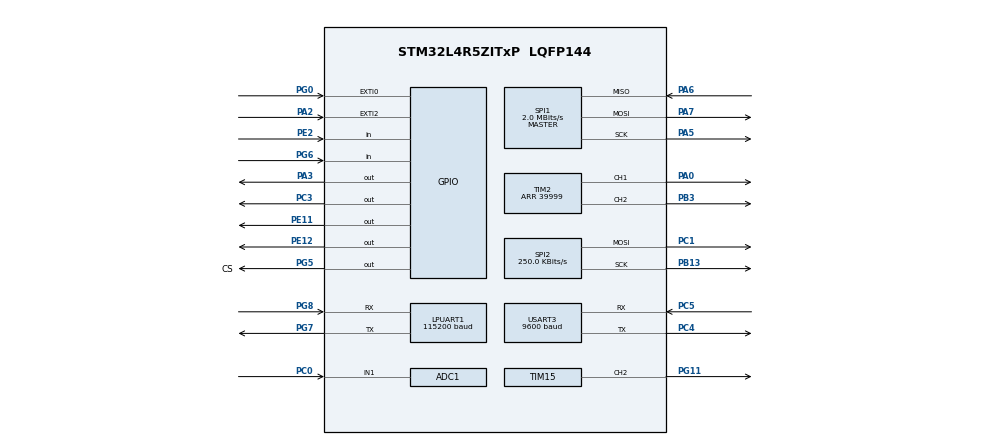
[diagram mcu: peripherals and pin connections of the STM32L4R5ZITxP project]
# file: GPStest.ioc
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ADC1.Channel-0\#ChannelRegularConversion=ADC_CHANNEL_1
ADC1.NbrOfConversionFlag=1
ADC1.OffsetNumber-0\#ChannelRegularConversion=ADC_OFFSET_NONE
ADC1.Rank-0\#ChannelRegularConversion=1
ADC1.SamplingTime-0\#ChannelRegularConversion=ADC_SAMPLETIME_2CYCLES_5
ADC1.master=1
Dma.Request0=SPI1_RX
Dma.Request1=SPI1_TX
Dma.SPI1_RX.0.Direction=DMA_PERIPH_TO_MEMORY
Dma.SPI1_RX.0.EventEnable=DISABLE
Dma.SPI1_RX.0.Instance=DMA1_Channel1
Dma.SPI1_RX.0.MemDataAlignment=DMA_MDATAALIGN_BYTE
Dma.SPI1_RX.0.MemInc=DMA_MINC_ENABLE
Dma.SPI1_RX.0.Mode=DMA_NORMAL
Dma.SPI1_RX.0.PeriphDataAlignment=DMA_PDATAALIGN_BYTE
Dma.SPI1_RX.0.PeriphInc=DMA_PINC_DISABLE
Dma.SPI1_RX.0.Polarity=HAL_DMAMUX_REQUEST_GEN_RISING
Dma.SPI1_RX.0.Priority=DMA_PRIORITY_LOW
Dma.SPI1_RX.0.RequestNumber=1
Dma.SPI1_RX.0.SignalID=NONE
Dma.SPI1_RX.0.SyncEnable=DISABLE
Dma.SPI1_RX.0.SyncPolarity=HAL_DMAMUX_SYNC_NO_EVENT
Dma.SPI1_RX.0.SyncRequestNumber=1
Dma.SPI1_RX.0.SyncSignalID=NONE
Dma.SPI1_TX.1.Direction=DMA_MEMORY_TO_PERIPH
Dma.SPI1_TX.1.EventEnable=DISABLE
Dma.SPI1_TX.1.Instance=DMA1_Channel2
Dma.SPI1_TX.1.MemDataAlignment=DMA_MDATAALIGN_BYTE
Dma.SPI1_TX.1.MemInc=DMA_MINC_ENABLE
Dma.SPI1_TX.1.Mode=DMA_NORMAL
Dma.SPI1_TX.1.PeriphDataAlignment=DMA_PDATAALIGN_BYTE
Dma.SPI1_TX.1.PeriphInc=DMA_PINC_DISABLE
Dma.SPI1_TX.1.Polarity=HAL_DMAMUX_REQUEST_GEN_RISING
Dma.SPI1_TX.1.Priority=DMA_PRIORITY_LOW
Dma.SPI1_TX.1.RequestNumber=1
Dma.SPI1_TX.1.SignalID=NONE
Dma.SPI1_TX.1.SyncEnable=DISABLE
Dma.SPI1_TX.1.SyncPolarity=HAL_DMAMUX_SYNC_NO_EVENT
Dma.SPI1_TX.1.SyncRequestNumber=1
Dma.SPI1_TX.1.SyncSignalID=NONE
LPUART1.BaudRate=115200
LPUART1.WordLength=UART_WORDLENGTH_8B
Mcu.Family=STM32L4
Mcu.Name=STM32L4R5ZITxP
Mcu.Package=LQFP144
NVIC.DMA1_Channel1_IRQn=true\:0\:0\:false\:false\:true\:false\:true\:true
NVIC.DMA1_Channel2_IRQn=true\:0\:0\:false\:false\:true\:false\:true\:true
NVIC.EXTI2_IRQn=true\:0\:0\:false\:false\:true\:true\:true\:true
NVIC.PriorityGroup=NVIC_PRIORITYGROUP_4
NVIC.TIM5_IRQn=true\:0\:0\:true\:false\:true\:true\:true\:true
NVIC.TIM6_DAC_IRQn=true\:0\:0\:false\:false\:true\:true\:true\:true
NVIC.USART3_IRQn=true\:0\:0\:false\:false\:true\:true\:true\:true
PA0.Signal=S_TIM2_CH1
PA10.Signal=USB_OTG_FS_ID
PA13\ (JTMS/SWDIO).Signal=SYS_JTMS-SWDIO
PA14\ (JTCK/SWCLK).Signal=SYS_JTCK-SWCLK
PA2.GPIO_ModeDefaultEXTI=GPIO_MODE_IT_FALLING
PA2.GPIO_PuPd=GPIO_PULLUP
PA2.Signal=GPXTI2
PA3.Signal=GPIO_Output
PA5.Mode=Full_Duplex_Master
PA5.Signal=SPI1_SCK
PA6.Mode=Full_Duplex_Master
PA6.Signal=SPI1_MISO
PA7.Mode=Full_Duplex_Master
PA7.Signal=SPI1_MOSI
PA8.Signal=USB_OTG_FS_SOF
PA9.Signal=USB_OTG_FS_VBUS
PB10.Signal=S_TIM2_CH3
PB13.Mode=TX_Only_Simplex_Unidirect_Master
PB13.Signal=SPI2_SCK
PB14.Signal=S_TIM15_CH1
PB15.Signal=SAI2_SD_A
PB3\ (JTDO/TRACESWO).Signal=S_TIM2_CH2
PB4\ (NJTRST).Signal=SPI3_MISO
PB5.Signal=SPI3_MOSI
PB6.Signal=COMP2_INP
PB8.Signal=I2C1_SCL
PC0.Signal=ADCx_IN1
PC1.Mode=TX_Only_Simplex_Unidirect_Master
PC1.Signal=SPI2_MOSI
PC10.Signal=SDMMC1_D2
PC11.Signal=SDMMC1_D3
PC12.Signal=SDMMC1_CK
PC13.Signal=SYS_WKUP2
PC14-OSC32_IN\ (PC14).Signal=RCC_OSC32_IN
PC15-OSC32_OUT\ (PC15).Signal=RCC_OSC32_OUT
PC3.Signal=GPIO_Output
PC4.Mode=Asynchronous
PC4.Signal=USART3_TX
PC5.Mode=Asynchronous
PC5.Signal=USART3_RX
PC6.Signal=SAI2_MCLK_A
PC7.Signal=S_TIM3_CH2
PC8.Signal=SDMMC1_D0
PC9.Signal=SDMMC1_D1
PD14.Signal=S_TIM4_CH3
PD15.Signal=S_TIM4_CH4
PD2.Signal=SDMMC1_CMD
PD3.Signal=USART2_CTS
PD4.Signal=USART2_RTS
PD5.Signal=USART2_TX
PD6.Signal=USART2_RX
PE0.Signal=S_TIM4_ETR
PE10.Signal=TIM1_CH2N
PE11.Signal=GPIO_Output
PE12.Signal=GPIO_Output
PE13.Signal=S_TIM1_CH3
PE14.Signal=TIM1_BKIN2
PE15.Signal=TIM1_BKIN
PE2.Signal=GPIO_Input
PE3.Signal=SAI1_SD_B
PE7.Signal=S_TIM1_ETR
PE8.Signal=TIM1_CH1N
PE9.Signal=S_TIM1_CH1
PF0.Signal=I2C2_SDA
PF1.Signal=I2C2_SCL
PF2.Signal=I2C2_SMBA
PG0.Signal=GPXTI0
PG11.Signal=S_TIM15_CH2
PG5.GPIO_Label=CS
PG5.GPIO_Speed=GPIO_SPEED_FREQ_HIGH
PG5.PinState=GPIO_PIN_SET
PG5.Signal=GPIO_Output
PG6.Signal=GPIO_Input
PG7.Mode=Asynchronous
PG7.Signal=LPUART1_TX
PG8.Mode=Asynchronous
PG8.Signal=LPUART1_RX
ProjectManager.HeapSize=0x200
ProjectManager.StackSize=0x400
ProjectManager.TargetToolchain=STM32CubeIDE
RCC.ADCFreq_Value=32000000
RCC.HSE_VALUE=8000000
RCC.HSI48_VALUE=48000000
RCC.HSI_VALUE=16000000
RCC.LSE_VALUE=32768
RCC.MSI_VALUE=4000000
RCC.PLLSAI1N=16
RCC.USBFreq_Value=32000000
RCC.VCOOutputFreq_Value=32000000
SH.ADCx_IN1.0=ADC1_IN1,IN1-Single-Ended
SH.S_TIM15_CH1.0=TIM15_CH1
SH.S_TIM15_CH2.0=TIM15_CH2,PWM Generation2 CH2
SH.S_TIM1_CH1.0=TIM1_CH1
SH.S_TIM1_CH3.0=TIM1_CH3
SH.S_TIM1_ETR.0=TIM1_ETR
SH.S_TIM2_CH1.0=TIM2_CH1,PWM Generation1 CH1
SH.S_TIM2_CH2.0=TIM2_CH2,PWM Generation2 CH2
SH.S_TIM2_CH3.0=TIM2_CH3
SH.S_TIM3_CH2.0=TIM3_CH2
SH.S_TIM4_CH3.0=TIM4_CH3
SH.S_TIM4_CH4.0=TIM4_CH4
SH.S_TIM4_ETR.0=TIM4_ETR
SPI1.BaudRatePrescaler=SPI_BAUDRATEPRESCALER_2
SPI1.CalculateBaudRate=2.0 MBits/s
SPI1.DataSize=SPI_DATASIZE_8BIT
SPI1.Direction=SPI_DIRECTION_2LINES
SPI1.Mode=SPI_MODE_MASTER
SPI1.VirtualType=VM_MASTER
SPI2.BaudRatePrescaler=SPI_BAUDRATEPRESCALER_16
SPI2.CLKPhase=SPI_PHASE_1EDGE
SPI2.CalculateBaudRate=250.0 KBits/s
SPI2.DataSize=SPI_DATASIZE_8BIT
SPI2.Direction=SPI_DIRECTION_2LINES
SPI2.Mode=SPI_MODE_MASTER
SPI2.VirtualType=VM_MASTER
TIM15.Channel-PWM\ Generation2\ CH2=TIM_CHANNEL_2
TIM15.Period=39999
TIM2.Channel-PWM\ Generation1\ CH1=TIM_CHANNEL_1
TIM2.Channel-PWM\ Generation2\ CH2=TIM_CHANNEL_2
TIM2.Period=39999
TIM5.Prescaler=3
TIM6.Period=62499
TIM6.Prescaler=3
USART3.BaudRate=9600
USART3.VirtualMode-Asynchronous=VM_ASYNC
VP_FATFS_VS_Generic.Mode=User_defined
VP_TIM15_VS_ClockSourceINT.Mode=Internal
VP_TIM1_VS_ClockSourceINT.Mode=Internal
VP_TIM2_VS_ClockSourceINT.Mode=Internal
VP_TIM5_VS_ClockSourceINT.Mode=Internal
VP_TIM6_VS_ClockSourceINT.Mode=Enable_Timer
board=NUCLEO-L4R5ZI-P

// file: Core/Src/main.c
/* USER CODE BEGIN Header */
/**
  ******************************************************************************
  * @file           : main.c
  * @brief          : Main program body
  ******************************************************************************
  * @attention
  *
  * Copyright (c) 2026 STMicroelectronics.
  * All rights reserved.
  *
  * This software is licensed under terms that can be found in the LICENSE file
  * in the root directory of this software component.
  * If no LICENSE file comes with this software, it is provided AS-IS.
  *
  ******************************************************************************
  */
/* USER CODE END Header */
#include "main.h"
#include "fatfs.h"

/* USER CODE BEGIN Includes */
#include <string.h>
#include <stdlib.h>
#include <math.h>
#include "stdio.h"
#include "servo.h"

//static void MX_NVIC_Init(void){
//	HAL_NVIC_SetPriorty(EXTI3_IRQn,0 ,0);
//	HAL_NVIC_EnableIRQ(EXTI3_IRQn);
//}

/* USER CODE END Includes */

ADC_HandleTypeDef hadc1;

UART_HandleTypeDef hlpuart1;
UART_HandleTypeDef huart3;

SPI_HandleTypeDef hspi1;
SPI_HandleTypeDef hspi2;
DMA_HandleTypeDef hdma_spi1_rx;
DMA_HandleTypeDef hdma_spi1_tx;

TIM_HandleTypeDef htim1;
TIM_HandleTypeDef htim2;
TIM_HandleTypeDef htim5;
TIM_HandleTypeDef htim6;
TIM_HandleTypeDef htim15;

/* USER CODE BEGIN PV */

// Servo pulse width bounds (in timer ticks, period=1999 → 0-1999)
// Standard servo: 1ms (low) to 2ms (high) pulse, on a 20ms period
// 1ms/20ms * 2000 = 100 ticks, 2ms/20ms * 2000 = 200 ticks
#define SERVO_MIN  2000
#define SERVO_MAX  4500
#define ADC_MIN  600 // ADC value of throttle not depressed at all
#define ADC_MAX  3301 // ADC value of throttle depressed all the way

//LCD code

#define LCD_CS_GPIO_Port GPIOE
#define LCD_CS_Pin GPIO_PIN_12

#define LCD_RS_GPIO_Port GPIOC
#define LCD_RS_Pin GPIO_PIN_3

#define LCD_CS_LOW()  (LCD_CS_GPIO_Port->BSRR = (uint32_t)LCD_CS_Pin << 16U)
#define LCD_CS_HIGH() (LCD_CS_GPIO_Port->BSRR = LCD_CS_Pin)

#define LCD_RS_CMD()  (LCD_RS_GPIO_Port->BSRR = (uint32_t)LCD_RS_Pin << 16U)
#define LCD_RS_DATA() (LCD_RS_GPIO_Port->BSRR = LCD_RS_Pin)

/* ===== GPS UART receive (NMEA) ===== */

static uint8_t gps_rx_byte;

static char nmea_line[128];
static volatile uint16_t nmea_idx = 0;
static volatile uint8_t nmea_ready = 0;

/* Latest parsed fix (decimal degrees) */
volatile int32_t gps_lat_deg   = 0;
volatile int32_t gps_lon_deg   = 0;
volatile double  gps_speed_mph = 0;   // speed over ground, mph
volatile int32_t exp_time = 0;
volatile int    gps_fix_valid = 0;
int32_t last_log_ms = 0;
int32_t diff = 0;

//volatile int32_t a = 1;
//volatile int32_t b = 0;
//volatile int32_t = 39792082;

volatile int32_t a = -1;
volatile int32_t b = 0;
volatile int32_t c = -42293358;
int8_t csv_row_counter = 0;

/* USER CODE END PV */

void SystemClock_Config(void);
static void MX_GPIO_Init(void);
static void MX_DMA_Init(void);
static void MX_LPUART1_UART_Init(void);
static void MX_TIM1_Init(void);
static void MX_SPI1_Init(void);
static void MX_TIM6_Init(void);
static void MX_TIM5_Init(void);
static void MX_USART3_UART_Init(void);
static void MX_ADC1_Init(void);
static void MX_TIM2_Init(void);
static void MX_TIM15_Init(void);
static void MX_SPI2_Init(void);
/* USER CODE BEGIN PFP */

static void parse_rmc_line(const char *s);
static double nmea_to_decimal(double ddmm_mmmm);
/* USER CODE END PFP */

/* USER CODE BEGIN 0 */

static void sd_log_gps(int32_t lat, int32_t lon, double speed)
{
    FIL  f;
    UINT bw;
    char row[96];

    int len = snprintf(row, sizeof(row),
                       "%lu,%.6f,%.6f,%.3f\r\n",
                       (unsigned long)HAL_GetTick(),
                       lat, lon, (double)speed);

    if (len <= 0 || len >= (int)sizeof(row)) return;

    if (f_open(&f, "0:/gps_log.csv", FA_WRITE | FA_OPEN_APPEND) == FR_OK)
    {
        f_write(&f, row, (UINT)len, &bw);
        f_close(&f);   // flush to card on every write
    }
}

	int id = 0;

	int checkpoint_passed[8] = {0};
	int next_checkpoint = 0;
	int lap = 1;
	int curr_time = 0;
	int prev_time = 0;

/* ===== NMEA helpers ===== */

static double nmea_to_decimal(double ddmm_mmmm)
{
    double degrees = floor(ddmm_mmmm / 100.0);
    double minutes = ddmm_mmmm - degrees * 100.0;
    return degrees + (minutes / 60.0);
}

/*
 * Parses $GPRMC or $GNRMC sentence.
 * Field layout (comma-separated, 0-based):
 *  0  = $GPRMC
 *  1  = hhmmss.sss
 *  2  = A (valid) / V (void)
 *  3  = ddmm.mmmm  (latitude)
 *  4  = N / S
 *  5  = dddmm.mmmm (longitude)
 *  6  = E / W
 *  7  = speed over ground, knots   ← was missing
 *  8  = track angle, degrees
 *  9  = date ddmmyy
 */
static void parse_rmc_line(const char *s)
{
  // $GPRMC,hhmmss.sss,A,llll.ll,a,yyyyy.yy,a, ... *CS
  // Fields (0-based):
  // 0=$GPRMC
  // 1=time
  // 2=status A/V
  // 3=lat
  // 4=N/S
  // 5=lon
  // 6=E/W

  char buf[128];
  strncpy(buf, s, sizeof(buf) - 1);
  buf[sizeof(buf) - 1] = '\0';

  char *save = NULL;
  char *tok = strtok_r(buf, ",", &save);

  int field = 0;
  char status = 'V';
  double lat_raw = 0.0, lon_raw = 0.0;
  char ns = 'N', ew = 'E';
  double speed = 0.0;

  while (tok)
  {
    if (field == 2 && tok[0]) status = tok[0];
    if (field == 3 && tok[0]) lat_raw = atof(tok);
    if (field == 4 && tok[0]) ns = tok[0];
    if (field == 5 && tok[0]) lon_raw = atof(tok);
    if (field == 6 && tok[0]) ew = tok[0];
    if (field == 7 && tok[0]) speed = tok[0];

    tok = strtok_r(NULL, ",", &save);
    field++;
  }

  if (status == 'A' && lat_raw > 0.0 && lon_raw > 0.0)
  {
    double lat = nmea_to_decimal(lat_raw);
    double lon = nmea_to_decimal(lon_raw);

    if (ns == 'S') lat = -lat;
    if (ew == 'W') lon = -lon;

    gps_lat_deg = 1000000 * lat;
    gps_lon_deg = 1000000 * lon;
    gps_speed_mph = speed * 1.15;
    gps_fix_valid = 1;
    printf("=========== parsing ======== \r\n");
    printf("\r\nlat %.6f, lon: %.6f", lat, lon);
    printf("\r\nlat %d, lon: %d", gps_lat_deg, gps_lon_deg, gps_speed_mph);
  }
  else
  {
    gps_fix_valid = 0;
  }
}

static void gps_process_line_if_ready(void)
{
    if (!nmea_ready) return;
    nmea_ready = 0;

    if (strncmp(nmea_line, "$GPRMC", 6) == 0 || strncmp(nmea_line, "$GNRMC", 6) == 0)
    {
        parse_rmc_line(nmea_line);

        if (gps_fix_valid)
        {
        	printf("\r\n=========== gps valid ======== \r\n");
            printf("LAT: %.6f  LON: %.6f\r\n", gps_lat_deg, gps_lon_deg, gps_speed_mph);

            uint32_t now = HAL_GetTick();
            if (now - last_log_ms >= 1000)
            {
                sd_log_gps(gps_lat_deg, gps_lon_deg, gps_speed_mph);
            	last_log_ms = now;
            }
            printf("VALUES ARE A: %d, B: %d, C: %d\r\n", a,b,c);
            char csv_data[128];
            char *cols[9];

            if (a * gps_lat_deg + b * gps_lon_deg > c)
            {
                printf("\n\n ========== \r\n crossed %d checkpoint \r\n", csv_row_counter);

                FRESULT res = read_next_row("0:/trial.csv", csv_data, sizeof(csv_data));
                if (res == FR_OK)
                {
                    csv_row_counter++;

                    split_csv(csv_data, cols, 9);
                    a = atoi(cols[1]);
                    b = atoi(cols[3]);
                    c = atoi(cols[5]);
                    exp_time = atoi(cols[8]);
                    int32_t a = HAL_GetTick();

                    diff = (a <= exp_time) ? (exp_time - a) : (a - exp_time);
                    printf("=========== readed from csv ======== \r\n");
                    printf("curr time: %d, expected time: %d, diff: %d", a, exp_time, diff);
                    printf("new values: a: %d, b %d, c:%d\r\n", a, b, c);
                }
                else
                {
                    printf("RUHROH");
                }
            }
        }
    }
}

static void gps_start_receive(void)
{
  nmea_idx = 0;
  nmea_ready = 0;
  HAL_UART_Receive_IT(&huart3, &gps_rx_byte, 1);
}

static void sd_log_init(void)
{
    FIL   f;
    UINT  bw;
    /* FA_OPEN_APPEND creates the file if absent, otherwise appends */
    if (f_open(&f, "0:/gps_log.csv", FA_WRITE | FA_OPEN_APPEND) == FR_OK)
    {
        /* Write header only when file is empty (size == 0) */
        if (f_size(&f) == 0)
        {
            const char *hdr = "timestamp_ms,lat_deg,lon_deg,speed_kts\r\n";
            f_write(&f, hdr, strlen(hdr), &bw);
        }
        f_close(&f);
    }
}

void LCD_Write(uint8_t data, uint8_t is_data) {

    if (is_data) {
        LCD_RS_DATA();
    } else {
        LCD_RS_CMD();
    }

    LCD_CS_LOW();
    HAL_SPI_Transmit(&hspi2, &data, 1, HAL_MAX_DELAY);
    LCD_CS_HIGH();
}

void LCD_Init(void) {
    HAL_Delay(100); // Wait for VCC to stabilize

    // Manual Reset Sequence
    LCD_Write(0x30, 0);
    HAL_Delay(5);
    LCD_Write(0x30, 0);
    HAL_Delay(1);
    LCD_Write(0x30, 0);
    HAL_Delay(1);

    LCD_Write(0x38, 0); // 2 lines, 5x8 font
    LCD_Write(0x08, 0); // Display OFF
    LCD_Write(0x01, 0); // Clear
    HAL_Delay(2);
    LCD_Write(0x06, 0); // Entry mode
    LCD_Write(0x0C, 0); // Display ON, Cursor OFF
}
void LCD_SetCursor(uint8_t col, uint8_t row) {

    const uint8_t row_offsets[] = {0x00, 0x40, 0x14, 0x54};

    if (row > 3) row = 3;
    if (col > 19) col = 19;

    LCD_Write(0x80 | (col + row_offsets[row]), 0);
}

void LCD_Print(const char *str) {
    while (*str) {
        LCD_Write((uint8_t)(*str), 1);
        str++;
    }
}

Servo throttle, wiper, shifter;

/* USER CODE END 0 */

int main(void)
{

  /* MCU Configuration--------------------------------------------------------*/

  /* Reset of all peripherals, Initializes the Flash interface and the Systick. */
  HAL_Init();

  /* Configure the system clock */
  SystemClock_Config();

  /* Initialize all configured peripherals */
  MX_GPIO_Init();
  MX_DMA_Init();
  MX_LPUART1_UART_Init();
  MX_TIM1_Init();
  MX_SPI1_Init();
  MX_TIM6_Init();
  MX_TIM5_Init();
  MX_USART3_UART_Init();
  MX_ADC1_Init();
  MX_TIM2_Init();
  MX_TIM15_Init();
  MX_SPI2_Init();
  /* USER CODE BEGIN 2 */

  // Start GPS UART reception (NMEA)
  HAL_Delay(500);
  sd_mount();
  gps_start_receive();
  sd_log_init();
  HAL_TIM_PWM_Start(&htim2, TIM_CHANNEL_2); //throttle
  HAL_TIM_PWM_Start(&htim2, TIM_CHANNEL_1); //shifter
  HAL_TIM_PWM_Start(&htim15, TIM_CHANNEL_2); //wiper

  HAL_ADCEx_Calibration_Start(&hadc1, ADC_SINGLE_ENDED);

  Servo_Init(&throttle, TIM2, &TIM2->CCR2, 2000, 10, 5);
  Servo_Init(&wiper, TIM15, &TIM15->CCR2, 2000, 10, 6);
  Servo_Init(&shifter, TIM2, &TIM1->CCR1, 2000, 10, 3);
  HAL_Delay(500);
  LCD_Init();

  LCD_SetCursor(0, 0);
  LCD_Print("SPEED: ");

  LCD_SetCursor(0, 1);
  LCD_Print("DIFF: ");

  LCD_SetCursor(0, 2);
  LCD_Print("CHECKPOINT: ");

  LCD_SetCursor(0, 3);
  LCD_Print("LAP NUM 0/4");

  uint8_t wiper_dir = 1;
//  HAL_UART_Receive_IT(&huart3, &gps_rx_byte, 1);
  uint32_t last_log_ms = 0;
    //NEED TO CHANGE BASED ON WHICH TRACK WE'RE USING!!!
//  int8_t a = -1;
//  int8_t b = 0;
//  int32_t c = -42293358;
  uint32_t step;

  //sets E2 to low
  HAL_GPIO_WritePin(GPIOE, GPIO_PIN_2, GPIO_PIN_RESET);

  /* USER CODE END 2 */

  /* Infinite loop */
  /* USER CODE BEGIN WHILE */
  while (1)
  {
	  char speed_char[8]; // Increased size to fit "15.123" + null
	  char diff_char[8]; // Increased
	  // %.3f specifies 3 digits after the decimal point
	  snprintf(speed_char, sizeof(speed_char), "%.1f", gps_speed_mph);
	  LCD_SetCursor(0, 0);
	  LCD_Print("SPEED: ");
	  LCD_SetCursor(7, 0);
	  LCD_Print(speed_char);
	  LCD_SetCursor(0, 1);

	  LCD_Print("DIFF: ");
	  int16_t seconds = 223370.67 * 0.0001;
	  snprintf(diff_char, sizeof(diff_char), "%.1f", seconds);
	  LCD_SetCursor(7, 1);
	  LCD_Print(speed_char);

	  LCD_SetCursor(0, 2);
	  LCD_Print("CHECKPOINT: ");

	  LCD_SetCursor(0, 3);
	  LCD_Print("LAP NUM 0/4");
	  HAL_ADC_Start(&hadc1);
	  //	  Servo_Update_Throttle(&throttle, step);
		Servo_Update(&throttle);
		Servo_Update(&wiper);
		Servo_Update(&shifter);
//		char[128] buf2 = nmea_line;
		char buf2[128];
		strcpy(buf2, nmea_line);
//		parse_rmc_line(nmea_line);
		gps_process_line_if_ready();

//		  printf("LAT=%.6f  LON=%.6f  SPD=%.1f kts\r\n",
//				 gps_lat_deg, gps_lon_deg, (double)gps_speed_kts);

		  	  //SIMON CHANGE THE TARGET VALUES IF THE SERVO ISNT SPINNING ENOUGH
		if(HAL_GPIO_ReadPin(GPIOE, GPIO_PIN_2) == 1){
		  Servo_SetTarget(&shifter, 6000);
		}
		if(HAL_GPIO_ReadPin(GPIOE, GPIO_PIN_2) == 0){
				  Servo_SetTarget(&shifter, 3000);
		}
		if (HAL_ADC_PollForConversion(&hadc1, 1) == HAL_OK){
			uint32_t adc_value = HAL_ADC_GetValue(&hadc1);
			HAL_ADC_Stop(&hadc1);

			uint32_t clamped = adc_value < ADC_MIN ? ADC_MIN :
							   adc_value > ADC_MAX ? ADC_MAX : adc_value;

//			uint32_t pulse = SERVO_MAX - ((clamped - ADC_MIN) * (SERVO_MAX - SERVO_MIN))
//										  / (ADC_MAX - ADC_MIN);
			uint32_t pulse = SERVO_MIN + ((clamped - ADC_MIN) * (SERVO_MAX - SERVO_MIN))
									  / (ADC_MAX - ADC_MIN);
			step = (SERVO_MAX - clamped)/500;
			Servo_SetTarget(&throttle, pulse);
		}
		else{
			HAL_ADC_Stop(&hadc1);  // stop even on timeout
		}

		if(Servo_IsIdle(&wiper)){
		  //HAL_Delay(10);
		  if(wiper_dir == 0){

			  //we cchanged from 7000 and 4000 to these numbers, wiper is going too far off on the left side
			  //facing out from in
			  Servo_SetTarget(&wiper, 6750);
			  wiper_dir = 1;
		  }else{
			  Servo_SetTarget(&wiper, 4250);
			  wiper_dir = 0;
		  }
		}

//     Optional: if you have printf routed somewhere, you can print when valid
//     (GPS typically updates at ~1 Hz)

    /* USER CODE END WHILE */

    /* USER CODE BEGIN 3 */
  }
  sd_unmount();
  /* USER CODE END 3 */
}

void SystemClock_Config(void)
{
  RCC_OscInitTypeDef RCC_OscInitStruct = {0};
  RCC_ClkInitTypeDef RCC_ClkInitStruct = {0};

  /** Configure the main internal regulator output voltage
  */
  if (HAL_PWREx_ControlVoltageScaling(PWR_REGULATOR_VOLTAGE_SCALE1) != HAL_OK)
  {
    Error_Handler();
  }

  /** Initializes the RCC Oscillators according to the specified parameters
  * in the RCC_OscInitTypeDef structure.
  */
  RCC_OscInitStruct.OscillatorType = RCC_OSCILLATORTYPE_MSI;
  RCC_OscInitStruct.MSIState = RCC_MSI_ON;
  RCC_OscInitStruct.MSICalibrationValue = 0;
  RCC_OscInitStruct.MSIClockRange = RCC_MSIRANGE_6;
  RCC_OscInitStruct.PLL.PLLState = RCC_PLL_NONE;
  if (HAL_RCC_OscConfig(&RCC_OscInitStruct) != HAL_OK)
  {
    Error_Handler();
  }

  /** Initializes the CPU, AHB and APB buses clocks
  */
  RCC_ClkInitStruct.ClockType = RCC_CLOCKTYPE_HCLK|RCC_CLOCKTYPE_SYSCLK
                              |RCC_CLOCKTYPE_PCLK1|RCC_CLOCKTYPE_PCLK2;
  RCC_ClkInitStruct.SYSCLKSource = RCC_SYSCLKSOURCE_MSI;
  RCC_ClkInitStruct.AHBCLKDivider = RCC_SYSCLK_DIV1;
  RCC_ClkInitStruct.APB1CLKDivider = RCC_HCLK_DIV1;
  RCC_ClkInitStruct.APB2CLKDivider = RCC_HCLK_DIV1;

  if (HAL_RCC_ClockConfig(&RCC_ClkInitStruct, FLASH_LATENCY_0) != HAL_OK)
  {
    Error_Handler();
  }
}

static void MX_ADC1_Init(void)
{

  ADC_ChannelConfTypeDef sConfig = {0};

  /** Common config
  */
  hadc1.Instance = ADC1;
  hadc1.Init.ClockPrescaler = ADC_CLOCK_ASYNC_DIV1;
  hadc1.Init.Resolution = ADC_RESOLUTION_12B;
  hadc1.Init.DataAlign = ADC_DATAALIGN_RIGHT;
  hadc1.Init.ScanConvMode = ADC_SCAN_DISABLE;
  hadc1.Init.EOCSelection = ADC_EOC_SINGLE_CONV;
  hadc1.Init.LowPowerAutoWait = DISABLE;
  hadc1.Init.ContinuousConvMode = DISABLE;
  hadc1.Init.NbrOfConversion = 1;
  hadc1.Init.DiscontinuousConvMode = DISABLE;
  hadc1.Init.ExternalTrigConv = ADC_SOFTWARE_START;
  hadc1.Init.ExternalTrigConvEdge = ADC_EXTERNALTRIGCONVEDGE_NONE;
  hadc1.Init.DMAContinuousRequests = DISABLE;
  hadc1.Init.Overrun = ADC_OVR_DATA_PRESERVED;
  hadc1.Init.OversamplingMode = DISABLE;
  if (HAL_ADC_Init(&hadc1) != HAL_OK)
  {
    Error_Handler();
  }

  /** Configure Regular Channel
  */
  sConfig.Channel = ADC_CHANNEL_1;
  sConfig.Rank = ADC_REGULAR_RANK_1;
  sConfig.SamplingTime = ADC_SAMPLETIME_2CYCLES_5;
  sConfig.SingleDiff = ADC_SINGLE_ENDED;
  sConfig.OffsetNumber = ADC_OFFSET_NONE;
  sConfig.Offset = 0;
  if (HAL_ADC_ConfigChannel(&hadc1, &sConfig) != HAL_OK)
  {
    Error_Handler();
  }

}

static void MX_LPUART1_UART_Init(void)
{

  hlpuart1.Instance = LPUART1;
  hlpuart1.Init.BaudRate = 115200;
  hlpuart1.Init.WordLength = UART_WORDLENGTH_8B;
  hlpuart1.Init.StopBits = UART_STOPBITS_1;
  hlpuart1.Init.Parity = UART_PARITY_NONE;
  hlpuart1.Init.Mode = UART_MODE_TX_RX;
  hlpuart1.Init.HwFlowCtl = UART_HWCONTROL_NONE;
  hlpuart1.Init.OneBitSampling = UART_ONE_BIT_SAMPLE_DISABLE;
  hlpuart1.Init.ClockPrescaler = UART_PRESCALER_DIV1;
  hlpuart1.AdvancedInit.AdvFeatureInit = UART_ADVFEATURE_NO_INIT;
  hlpuart1.FifoMode = UART_FIFOMODE_DISABLE;
  if (HAL_UART_Init(&hlpuart1) != HAL_OK)
  {
    Error_Handler();
  }
  if (HAL_UARTEx_SetTxFifoThreshold(&hlpuart1, UART_TXFIFO_THRESHOLD_1_8) != HAL_OK)
  {
    Error_Handler();
  }
  if (HAL_UARTEx_SetRxFifoThreshold(&hlpuart1, UART_RXFIFO_THRESHOLD_1_8) != HAL_OK)
  {
    Error_Handler();
  }
  if (HAL_UARTEx_DisableFifoMode(&hlpuart1) != HAL_OK)
  {
    Error_Handler();
  }

}

static void MX_USART3_UART_Init(void)
{

  huart3.Instance = USART3;
  huart3.Init.BaudRate = 9600;
  huart3.Init.WordLength = UART_WORDLENGTH_8B;
  huart3.Init.StopBits = UART_STOPBITS_1;
  huart3.Init.Parity = UART_PARITY_NONE;
  huart3.Init.Mode = UART_MODE_TX_RX;
  huart3.Init.HwFlowCtl = UART_HWCONTROL_NONE;
  huart3.Init.OverSampling = UART_OVERSAMPLING_16;
  huart3.Init.OneBitSampling = UART_ONE_BIT_SAMPLE_DISABLE;
  huart3.Init.ClockPrescaler = UART_PRESCALER_DIV1;
  huart3.AdvancedInit.AdvFeatureInit = UART_ADVFEATURE_NO_INIT;
  if (HAL_UART_Init(&huart3) != HAL_OK)
  {
    Error_Handler();
  }
  if (HAL_UARTEx_SetTxFifoThreshold(&huart3, UART_TXFIFO_THRESHOLD_1_8) != HAL_OK)
  {
    Error_Handler();
  }
  if (HAL_UARTEx_SetRxFifoThreshold(&huart3, UART_RXFIFO_THRESHOLD_1_8) != HAL_OK)
  {
    Error_Handler();
  }
  if (HAL_UARTEx_DisableFifoMode(&huart3) != HAL_OK)
  {
    Error_Handler();
  }

}

static void MX_SPI1_Init(void)
{

  /* SPI1 parameter configuration*/
  hspi1.Instance = SPI1;
  hspi1.Init.Mode = SPI_MODE_MASTER;
  hspi1.Init.Direction = SPI_DIRECTION_2LINES;
  hspi1.Init.DataSize = SPI_DATASIZE_8BIT;
  hspi1.Init.CLKPolarity = SPI_POLARITY_LOW;
  hspi1.Init.CLKPhase = SPI_PHASE_1EDGE;
  hspi1.Init.NSS = SPI_NSS_SOFT;
  hspi1.Init.BaudRatePrescaler = SPI_BAUDRATEPRESCALER_2;
  hspi1.Init.FirstBit = SPI_FIRSTBIT_MSB;
  hspi1.Init.TIMode = SPI_TIMODE_DISABLE;
  hspi1.Init.CRCCalculation = SPI_CRCCALCULATION_DISABLE;
  hspi1.Init.CRCPolynomial = 7;
  hspi1.Init.CRCLength = SPI_CRC_LENGTH_DATASIZE;
  hspi1.Init.NSSPMode = SPI_NSS_PULSE_ENABLE;
  if (HAL_SPI_Init(&hspi1) != HAL_OK)
  {
    Error_Handler();
  }

}

static void MX_SPI2_Init(void)
{

  /* SPI2 parameter configuration*/
  hspi2.Instance = SPI2;
  hspi2.Init.Mode = SPI_MODE_MASTER;
  hspi2.Init.Direction = SPI_DIRECTION_2LINES;
  hspi2.Init.DataSize = SPI_DATASIZE_8BIT;
  hspi2.Init.CLKPolarity = SPI_POLARITY_LOW;
  hspi2.Init.CLKPhase = SPI_PHASE_1EDGE;
  hspi2.Init.NSS = SPI_NSS_SOFT;
  hspi2.Init.BaudRatePrescaler = SPI_BAUDRATEPRESCALER_16;
  hspi2.Init.FirstBit = SPI_FIRSTBIT_MSB;
  hspi2.Init.TIMode = SPI_TIMODE_DISABLE;
  hspi2.Init.CRCCalculation = SPI_CRCCALCULATION_DISABLE;
  hspi2.Init.CRCPolynomial = 7;
  hspi2.Init.CRCLength = SPI_CRC_LENGTH_DATASIZE;
  hspi2.Init.NSSPMode = SPI_NSS_PULSE_ENABLE;
  if (HAL_SPI_Init(&hspi2) != HAL_OK)
  {
    Error_Handler();
  }

}

static void MX_TIM1_Init(void)
{

  TIM_ClockConfigTypeDef sClockSourceConfig = {0};
  TIM_MasterConfigTypeDef sMasterConfig = {0};

  htim1.Instance = TIM1;
  htim1.Init.Prescaler = 0;
  htim1.Init.CounterMode = TIM_COUNTERMODE_UP;
  htim1.Init.Period = 65535;
  htim1.Init.ClockDivision = TIM_CLOCKDIVISION_DIV1;
  htim1.Init.RepetitionCounter = 0;
  htim1.Init.AutoReloadPreload = TIM_AUTORELOAD_PRELOAD_DISABLE;
  if (HAL_TIM_Base_Init(&htim1) != HAL_OK)
  {
    Error_Handler();
  }
  sClockSourceConfig.ClockSource = TIM_CLOCKSOURCE_INTERNAL;
  if (HAL_TIM_ConfigClockSource(&htim1, &sClockSourceConfig) != HAL_OK)
  {
    Error_Handler();
  }
  sMasterConfig.MasterOutputTrigger = TIM_TRGO_RESET;
  sMasterConfig.MasterOutputTrigger2 = TIM_TRGO2_RESET;
  sMasterConfig.MasterSlaveMode = TIM_MASTERSLAVEMODE_DISABLE;
  if (HAL_TIMEx_MasterConfigSynchronization(&htim1, &sMasterConfig) != HAL_OK)
  {
    Error_Handler();
  }

}

static void MX_TIM2_Init(void)
{

  TIM_ClockConfigTypeDef sClockSourceConfig = {0};
  TIM_MasterConfigTypeDef sMasterConfig = {0};
  TIM_OC_InitTypeDef sConfigOC = {0};

  htim2.Instance = TIM2;
  htim2.Init.Prescaler = 0;
  htim2.Init.CounterMode = TIM_COUNTERMODE_UP;
  htim2.Init.Period = 39999;
  htim2.Init.ClockDivision = TIM_CLOCKDIVISION_DIV1;
  htim2.Init.AutoReloadPreload = TIM_AUTORELOAD_PRELOAD_DISABLE;
  if (HAL_TIM_Base_Init(&htim2) != HAL_OK)
  {
    Error_Handler();
  }
  sClockSourceConfig.ClockSource = TIM_CLOCKSOURCE_INTERNAL;
  if (HAL_TIM_ConfigClockSource(&htim2, &sClockSourceConfig) != HAL_OK)
  {
    Error_Handler();
  }
  if (HAL_TIM_PWM_Init(&htim2) != HAL_OK)
  {
    Error_Handler();
  }
  sMasterConfig.MasterOutputTrigger = TIM_TRGO_RESET;
  sMasterConfig.MasterSlaveMode = TIM_MASTERSLAVEMODE_DISABLE;
  if (HAL_TIMEx_MasterConfigSynchronization(&htim2, &sMasterConfig) != HAL_OK)
  {
    Error_Handler();
  }
  sConfigOC.OCMode = TIM_OCMODE_PWM1;
  sConfigOC.Pulse = 0;
  sConfigOC.OCPolarity = TIM_OCPOLARITY_HIGH;
  sConfigOC.OCFastMode = TIM_OCFAST_DISABLE;
  if (HAL_TIM_PWM_ConfigChannel(&htim2, &sConfigOC, TIM_CHANNEL_1) != HAL_OK)
  {
    Error_Handler();
  }
  if (HAL_TIM_PWM_ConfigChannel(&htim2, &sConfigOC, TIM_CHANNEL_2) != HAL_OK)
  {
    Error_Handler();
  }
  HAL_TIM_MspPostInit(&htim2);

}

static void MX_TIM5_Init(void)
{

  TIM_ClockConfigTypeDef sClockSourceConfig = {0};
  TIM_MasterConfigTypeDef sMasterConfig = {0};

  htim5.Instance = TIM5;
  htim5.Init.Prescaler = 3;
  htim5.Init.CounterMode = TIM_COUNTERMODE_UP;
  htim5.Init.Period = 4294967295;
  htim5.Init.ClockDivision = TIM_CLOCKDIVISION_DIV1;
  htim5.Init.AutoReloadPreload = TIM_AUTORELOAD_PRELOAD_DISABLE;
  if (HAL_TIM_Base_Init(&htim5) != HAL_OK)
  {
    Error_Handler();
  }
  sClockSourceConfig.ClockSource = TIM_CLOCKSOURCE_INTERNAL;
  if (HAL_TIM_ConfigClockSource(&htim5, &sClockSourceConfig) != HAL_OK)
  {
    Error_Handler();
  }
  sMasterConfig.MasterOutputTrigger = TIM_TRGO_RESET;
  sMasterConfig.MasterSlaveMode = TIM_MASTERSLAVEMODE_DISABLE;
  if (HAL_TIMEx_MasterConfigSynchronization(&htim5, &sMasterConfig) != HAL_OK)
  {
    Error_Handler();
  }

}

static void MX_TIM6_Init(void)
{

  TIM_MasterConfigTypeDef sMasterConfig = {0};

  htim6.Instance = TIM6;
  htim6.Init.Prescaler = 3;
  htim6.Init.CounterMode = TIM_COUNTERMODE_UP;
  htim6.Init.Period = 62499;
  htim6.Init.AutoReloadPreload = TIM_AUTORELOAD_PRELOAD_DISABLE;
  if (HAL_TIM_Base_Init(&htim6) != HAL_OK)
  {
    Error_Handler();
  }
  sMasterConfig.MasterOutputTrigger = TIM_TRGO_RESET;
  sMasterConfig.MasterSlaveMode = TIM_MASTERSLAVEMODE_DISABLE;
  if (HAL_TIMEx_MasterConfigSynchronization(&htim6, &sMasterConfig) != HAL_OK)
  {
    Error_Handler();
  }

}

static void MX_TIM15_Init(void)
{

  TIM_ClockConfigTypeDef sClockSourceConfig = {0};
  TIM_MasterConfigTypeDef sMasterConfig = {0};
  TIM_OC_InitTypeDef sConfigOC = {0};
  TIM_BreakDeadTimeConfigTypeDef sBreakDeadTimeConfig = {0};

  htim15.Instance = TIM15;
  htim15.Init.Prescaler = 0;
  htim15.Init.CounterMode = TIM_COUNTERMODE_UP;
  htim15.Init.Period = 39999;
  htim15.Init.ClockDivision = TIM_CLOCKDIVISION_DIV1;
  htim15.Init.RepetitionCounter = 0;
  htim15.Init.AutoReloadPreload = TIM_AUTORELOAD_PRELOAD_DISABLE;
  if (HAL_TIM_Base_Init(&htim15) != HAL_OK)
  {
    Error_Handler();
  }
  sClockSourceConfig.ClockSource = TIM_CLOCKSOURCE_INTERNAL;
  if (HAL_TIM_ConfigClockSource(&htim15, &sClockSourceConfig) != HAL_OK)
  {
    Error_Handler();
  }
  if (HAL_TIM_PWM_Init(&htim15) != HAL_OK)
  {
    Error_Handler();
  }
  sMasterConfig.MasterOutputTrigger = TIM_TRGO_RESET;
  sMasterConfig.MasterSlaveMode = TIM_MASTERSLAVEMODE_DISABLE;
  if (HAL_TIMEx_MasterConfigSynchronization(&htim15, &sMasterConfig) != HAL_OK)
  {
    Error_Handler();
  }
  sConfigOC.OCMode = TIM_OCMODE_PWM1;
  sConfigOC.Pulse = 0;
  sConfigOC.OCPolarity = TIM_OCPOLARITY_HIGH;
  sConfigOC.OCNPolarity = TIM_OCNPOLARITY_HIGH;
  sConfigOC.OCFastMode = TIM_OCFAST_DISABLE;
  sConfigOC.OCIdleState = TIM_OCIDLESTATE_RESET;
  sConfigOC.OCNIdleState = TIM_OCNIDLESTATE_RESET;
  if (HAL_TIM_PWM_ConfigChannel(&htim15, &sConfigOC, TIM_CHANNEL_2) != HAL_OK)
  {
    Error_Handler();
  }
  sBreakDeadTimeConfig.OffStateRunMode = TIM_OSSR_DISABLE;
  sBreakDeadTimeConfig.OffStateIDLEMode = TIM_OSSI_DISABLE;
  sBreakDeadTimeConfig.LockLevel = TIM_LOCKLEVEL_OFF;
  sBreakDeadTimeConfig.DeadTime = 0;
  sBreakDeadTimeConfig.BreakState = TIM_BREAK_DISABLE;
  sBreakDeadTimeConfig.BreakPolarity = TIM_BREAKPOLARITY_HIGH;
  sBreakDeadTimeConfig.AutomaticOutput = TIM_AUTOMATICOUTPUT_DISABLE;
  if (HAL_TIMEx_ConfigBreakDeadTime(&htim15, &sBreakDeadTimeConfig) != HAL_OK)
  {
    Error_Handler();
  }
  HAL_TIM_MspPostInit(&htim15);

}

static void MX_DMA_Init(void)
{

  /* DMA controller clock enable */
  __HAL_RCC_DMAMUX1_CLK_ENABLE();
  __HAL_RCC_DMA1_CLK_ENABLE();

  /* DMA interrupt init */
  /* DMA1_Channel1_IRQn interrupt configuration */
  HAL_NVIC_SetPriority(DMA1_Channel1_IRQn, 0, 0);
  HAL_NVIC_EnableIRQ(DMA1_Channel1_IRQn);
  /* DMA1_Channel2_IRQn interrupt configuration */
  HAL_NVIC_SetPriority(DMA1_Channel2_IRQn, 0, 0);
  HAL_NVIC_EnableIRQ(DMA1_Channel2_IRQn);

}

static void MX_GPIO_Init(void)
{
  GPIO_InitTypeDef GPIO_InitStruct = {0};

  /* GPIO Ports Clock Enable */
  __HAL_RCC_GPIOE_CLK_ENABLE();
  __HAL_RCC_GPIOC_CLK_ENABLE();
  __HAL_RCC_GPIOF_CLK_ENABLE();
  __HAL_RCC_GPIOA_CLK_ENABLE();
  __HAL_RCC_GPIOG_CLK_ENABLE();
  __HAL_RCC_GPIOB_CLK_ENABLE();
  __HAL_RCC_GPIOD_CLK_ENABLE();
  HAL_PWREx_EnableVddIO2();

  /*Configure GPIO pin Output Level */
  HAL_GPIO_WritePin(GPIOC, GPIO_PIN_3, GPIO_PIN_RESET);

  /*Configure GPIO pin Output Level */
  HAL_GPIO_WritePin(GPIOA, GPIO_PIN_3, GPIO_PIN_RESET);

  /*Configure GPIO pin Output Level */
  HAL_GPIO_WritePin(GPIOE, GPIO_PIN_11|GPIO_PIN_12, GPIO_PIN_RESET);

  /*Configure GPIO pin Output Level */
  HAL_GPIO_WritePin(CS_GPIO_Port, CS_Pin, GPIO_PIN_SET);

  /*Configure GPIO pin : PE2 */
  GPIO_InitStruct.Pin = GPIO_PIN_2;
  GPIO_InitStruct.Mode = GPIO_MODE_INPUT;
  GPIO_InitStruct.Pull = GPIO_NOPULL;
  HAL_GPIO_Init(GPIOE, &GPIO_InitStruct);

  /*Configure GPIO pin : PE3 */
  GPIO_InitStruct.Pin = GPIO_PIN_3;
  GPIO_InitStruct.Mode = GPIO_MODE_AF_PP;
  GPIO_InitStruct.Pull = GPIO_NOPULL;
  GPIO_InitStruct.Speed = GPIO_SPEED_FREQ_LOW;
  GPIO_InitStruct.Alternate = GPIO_AF13_SAI1;
  HAL_GPIO_Init(GPIOE, &GPIO_InitStruct);

  /*Configure GPIO pins : PF0 PF1 PF2 */
  GPIO_InitStruct.Pin = GPIO_PIN_0|GPIO_PIN_1|GPIO_PIN_2;
  GPIO_InitStruct.Mode = GPIO_MODE_AF_OD;
  GPIO_InitStruct.Pull = GPIO_NOPULL;
  GPIO_InitStruct.Speed = GPIO_SPEED_FREQ_VERY_HIGH;
  GPIO_InitStruct.Alternate = GPIO_AF4_I2C2;
  HAL_GPIO_Init(GPIOF, &GPIO_InitStruct);

  /*Configure GPIO pin : PC3 */
  GPIO_InitStruct.Pin = GPIO_PIN_3;
  GPIO_InitStruct.Mode = GPIO_MODE_OUTPUT_PP;
  GPIO_InitStruct.Pull = GPIO_NOPULL;
  GPIO_InitStruct.Speed = GPIO_SPEED_FREQ_LOW;
  HAL_GPIO_Init(GPIOC, &GPIO_InitStruct);

  /*Configure GPIO pin : PA2 */
  GPIO_InitStruct.Pin = GPIO_PIN_2;
  GPIO_InitStruct.Mode = GPIO_MODE_IT_FALLING;
  GPIO_InitStruct.Pull = GPIO_PULLUP;
  HAL_GPIO_Init(GPIOA, &GPIO_InitStruct);

  /*Configure GPIO pin : PA3 */
  GPIO_InitStruct.Pin = GPIO_PIN_3;
  GPIO_InitStruct.Mode = GPIO_MODE_OUTPUT_PP;
  GPIO_InitStruct.Pull = GPIO_NOPULL;
  GPIO_InitStruct.Speed = GPIO_SPEED_FREQ_LOW;
  HAL_GPIO_Init(GPIOA, &GPIO_InitStruct);

  /*Configure GPIO pin : PG0 */
  GPIO_InitStruct.Pin = GPIO_PIN_0;
  GPIO_InitStruct.Mode = GPIO_MODE_IT_RISING;
  GPIO_InitStruct.Pull = GPIO_NOPULL;
  HAL_GPIO_Init(GPIOG, &GPIO_InitStruct);

  /*Configure GPIO pins : PE11 PE12 */
  GPIO_InitStruct.Pin = GPIO_PIN_11|GPIO_PIN_12;
  GPIO_InitStruct.Mode = GPIO_MODE_OUTPUT_PP;
  GPIO_InitStruct.Pull = GPIO_NOPULL;
  GPIO_InitStruct.Speed = GPIO_SPEED_FREQ_LOW;
  HAL_GPIO_Init(GPIOE, &GPIO_InitStruct);

  /*Configure GPIO pin : PB15 */
  GPIO_InitStruct.Pin = GPIO_PIN_15;
  GPIO_InitStruct.Mode = GPIO_MODE_AF_PP;
  GPIO_InitStruct.Pull = GPIO_NOPULL;
  GPIO_InitStruct.Speed = GPIO_SPEED_FREQ_LOW;
  GPIO_InitStruct.Alternate = GPIO_AF13_SAI2;
  HAL_GPIO_Init(GPIOB, &GPIO_InitStruct);

  /*Configure GPIO pins : PD14 PD15 */
  GPIO_InitStruct.Pin = GPIO_PIN_14|GPIO_PIN_15;
  GPIO_InitStruct.Mode = GPIO_MODE_AF_PP;
  GPIO_InitStruct.Pull = GPIO_NOPULL;
  GPIO_InitStruct.Speed = GPIO_SPEED_FREQ_LOW;
  GPIO_InitStruct.Alternate = GPIO_AF2_TIM4;
  HAL_GPIO_Init(GPIOD, &GPIO_InitStruct);

  /*Configure GPIO pin : CS_Pin */
  GPIO_InitStruct.Pin = CS_Pin;
  GPIO_InitStruct.Mode = GPIO_MODE_OUTPUT_PP;
  GPIO_InitStruct.Pull = GPIO_NOPULL;
  GPIO_InitStruct.Speed = GPIO_SPEED_FREQ_HIGH;
  HAL_GPIO_Init(CS_GPIO_Port, &GPIO_InitStruct);

  /*Configure GPIO pin : PG6 */
  GPIO_InitStruct.Pin = GPIO_PIN_6;
  GPIO_InitStruct.Mode = GPIO_MODE_INPUT;
  GPIO_InitStruct.Pull = GPIO_NOPULL;
  HAL_GPIO_Init(GPIOG, &GPIO_InitStruct);

  /*Configure GPIO pin : PC6 */
  GPIO_InitStruct.Pin = GPIO_PIN_6;
  GPIO_InitStruct.Mode = GPIO_MODE_AF_PP;
  GPIO_InitStruct.Pull = GPIO_NOPULL;
  GPIO_InitStruct.Speed = GPIO_SPEED_FREQ_LOW;
  GPIO_InitStruct.Alternate = GPIO_AF13_SAI2;
  HAL_GPIO_Init(GPIOC, &GPIO_InitStruct);

  /*Configure GPIO pin : PC7 */
  GPIO_InitStruct.Pin = GPIO_PIN_7;
  GPIO_InitStruct.Mode = GPIO_MODE_AF_PP;
  GPIO_InitStruct.Pull = GPIO_NOPULL;
  GPIO_InitStruct.Speed = GPIO_SPEED_FREQ_LOW;
  GPIO_InitStruct.Alternate = GPIO_AF2_TIM3;
  HAL_GPIO_Init(GPIOC, &GPIO_InitStruct);

  /*Configure GPIO pins : PC8 PC9 PC10 PC11
                           PC12 */
  GPIO_InitStruct.Pin = GPIO_PIN_8|GPIO_PIN_9|GPIO_PIN_10|GPIO_PIN_11
                          |GPIO_PIN_12;
  GPIO_InitStruct.Mode = GPIO_MODE_AF_PP;
  GPIO_InitStruct.Pull = GPIO_NOPULL;
  GPIO_InitStruct.Speed = GPIO_SPEED_FREQ_VERY_HIGH;
  GPIO_InitStruct.Alternate = GPIO_AF12_SDMMC1;
  HAL_GPIO_Init(GPIOC, &GPIO_InitStruct);

  /*Configure GPIO pins : PA8 PA10 */
  GPIO_InitStruct.Pin = GPIO_PIN_8|GPIO_PIN_10;
  GPIO_InitStruct.Mode = GPIO_MODE_AF_PP;
  GPIO_InitStruct.Pull = GPIO_NOPULL;
  GPIO_InitStruct.Speed = GPIO_SPEED_FREQ_VERY_HIGH;
  GPIO_InitStruct.Alternate = GPIO_AF10_OTG_FS;
  HAL_GPIO_Init(GPIOA, &GPIO_InitStruct);

  /*Configure GPIO pin : PA9 */
  GPIO_InitStruct.Pin = GPIO_PIN_9;
  GPIO_InitStruct.Mode = GPIO_MODE_INPUT;
  GPIO_InitStruct.Pull = GPIO_NOPULL;
  HAL_GPIO_Init(GPIOA, &GPIO_InitStruct);

  /*Configure GPIO pin : PD2 */
  GPIO_InitStruct.Pin = GPIO_PIN_2;
  GPIO_InitStruct.Mode = GPIO_MODE_AF_PP;
  GPIO_InitStruct.Pull = GPIO_NOPULL;
  GPIO_InitStruct.Speed = GPIO_SPEED_FREQ_VERY_HIGH;
  GPIO_InitStruct.Alternate = GPIO_AF12_SDMMC1;
  HAL_GPIO_Init(GPIOD, &GPIO_InitStruct);

  /*Configure GPIO pins : PD3 PD4 PD5 PD6 */
  GPIO_InitStruct.Pin = GPIO_PIN_3|GPIO_PIN_4|GPIO_PIN_5|GPIO_PIN_6;
  GPIO_InitStruct.Mode = GPIO_MODE_AF_PP;
  GPIO_InitStruct.Pull = GPIO_NOPULL;
  GPIO_InitStruct.Speed = GPIO_SPEED_FREQ_VERY_HIGH;
  GPIO_InitStruct.Alternate = GPIO_AF7_USART2;
  HAL_GPIO_Init(GPIOD, &GPIO_InitStruct);

  /*Configure GPIO pins : PB4 PB5 */
  GPIO_InitStruct.Pin = GPIO_PIN_4|GPIO_PIN_5;
  GPIO_InitStruct.Mode = GPIO_MODE_AF_PP;
  GPIO_InitStruct.Pull = GPIO_NOPULL;
  GPIO_InitStruct.Speed = GPIO_SPEED_FREQ_VERY_HIGH;
  GPIO_InitStruct.Alternate = GPIO_AF6_SPI3;
  HAL_GPIO_Init(GPIOB, &GPIO_InitStruct);

  /*Configure GPIO pin : PB6 */
  GPIO_InitStruct.Pin = GPIO_PIN_6;
  GPIO_InitStruct.Mode = GPIO_MODE_ANALOG;
  GPIO_InitStruct.Pull = GPIO_NOPULL;
  HAL_GPIO_Init(GPIOB, &GPIO_InitStruct);

  /*Configure GPIO pin : PB8 */
  GPIO_InitStruct.Pin = GPIO_PIN_8;
  GPIO_InitStruct.Mode = GPIO_MODE_AF_OD;
  GPIO_InitStruct.Pull = GPIO_NOPULL;
  GPIO_InitStruct.Speed = GPIO_SPEED_FREQ_VERY_HIGH;
  GPIO_InitStruct.Alternate = GPIO_AF4_I2C1;
  HAL_GPIO_Init(GPIOB, &GPIO_InitStruct);

  /*Configure GPIO pin : PE0 */
  GPIO_InitStruct.Pin = GPIO_PIN_0;
  GPIO_InitStruct.Mode = GPIO_MODE_AF_PP;
  GPIO_InitStruct.Pull = GPIO_NOPULL;
  GPIO_InitStruct.Speed = GPIO_SPEED_FREQ_LOW;
  GPIO_InitStruct.Alternate = GPIO_AF2_TIM4;
  HAL_GPIO_Init(GPIOE, &GPIO_InitStruct);

  /* EXTI interrupt init*/
  HAL_NVIC_SetPriority(EXTI2_IRQn, 0, 0);
  HAL_NVIC_EnableIRQ(EXTI2_IRQn);

}

/* USER CODE BEGIN 4 */

#ifdef __GNUC__
#define PUTCHAR_PROTOTYPE int __io_putchar(int ch)
#else
  #define PUTCHAR_PROTOTYPE int fputc(int ch, FILE *f)
#endif /* __GNUC__ */
PUTCHAR_PROTOTYPE
{
  HAL_UART_Transmit(&hlpuart1, (uint8_t *)&ch, 1, 0xFFFF);
  return ch;
}

//void HAL_UART_RxCpltCallback(UART_HandleTypeDef *huart) {
//  if (huart->Instance == huart3.Instance) {
//    char c = (char)gps_rx_byte;
//    if (!nmea_ready) {
//      if (c == '\n') { // strip CR if present
//        if (nmea_idx > 0 && nmea_line[nmea_idx - 1] == '\r')
//          nmea_idx--; nmea_line[nmea_idx] = '\0';
//          nmea_ready = 1; nmea_idx = 0;
//        } else {
//          if (nmea_idx < (sizeof(nmea_line) - 1)){
//            nmea_line[nmea_idx++] = c;
//          }
//        else nmea_idx = 0; // overflow reset
//        }
//      } // Re-arm interrupt reception for next byte
//      HAL_UART_Receive_IT(&huart3, &gps_rx_byte, 1);
//    }
//}

/**
  * @brief Rx Transfer completed callback.
  * This assembles NMEA lines terminated by '\n'.
  */
//void HAL_UART_RxCpltCallback(UART_HandleTypeDef *huart)
//{
//  if (huart->Instance == huart3.Instance)
//  {
//    // 1. RE-ARM IMMEDIATELY
//    // This minimizes the window where the receiver is "off"
//    uint8_t next_byte = gps_rx_byte;
//    HAL_UART_Receive_IT(&huart3, &gps_rx_byte, 1);
//
//    // 2. Now process the byte we just caught
//    char c = (char)next_byte;
//
//    if (!nmea_ready)
//    {
//      if (c == '\n')
//      {
//        if (nmea_idx > 0 && nmea_line[nmea_idx - 1] == '\r')
//          nmea_idx--;
//
//        nmea_line[nmea_idx] = '\0';
//        nmea_ready = 1;
//        nmea_idx = 0;
//      }
//      else
//      {
//        if (nmea_idx < (sizeof(nmea_line) - 1))
//        {
//          nmea_line[nmea_idx++] = c;
//        }
//        else
//        {
//          nmea_idx = 0; // Buffer safety
//        }
//      }
//    }
//  }
//}
/**
  * @brief UART error callback (helps recover from framing/overrun errors)
  */
//void HAL_UART_ErrorCallback(UART_HandleTypeDef *huart)
//{
//  if (huart->Instance == huart3.Instance)
//  {
//    HAL_UART_Receive_IT(&huart3, &gps_rx_byte, 1);
//  }
//}

/**
  * @brief Rx Transfer completed callback.
  * This assembles NMEA lines terminated by '\n'.
  */
void HAL_UART_RxCpltCallback(UART_HandleTypeDef *huart)
{
  if (huart->Instance == huart3.Instance)
  {
    char c = (char)gps_rx_byte;

    if (!nmea_ready)
    {
      if (c == '\n')
      {
        // strip CR if present
        if (nmea_idx > 0 && nmea_line[nmea_idx - 1] == '\r')
          nmea_idx--;

        nmea_line[nmea_idx] = '\0';
        nmea_ready = 1;
        nmea_idx = 0;
      }
      else
      {
        if (nmea_idx < (sizeof(nmea_line) - 1))
          nmea_line[nmea_idx++] = c;
        else
          nmea_idx = 0; // overflow reset
      }
    }

    // Re-arm interrupt reception for next byte
    HAL_UART_Receive_IT(&huart3, &gps_rx_byte, 1);
  }
}

/**
  * @brief UART error callback (helps recover from framing/overrun errors)
  */
void HAL_UART_ErrorCallback(UART_HandleTypeDef *huart)
{
  if (huart->Instance == huart3.Instance)
  {
    HAL_UART_Receive_IT(&huart3, &gps_rx_byte, 1);
  }
}

//void HAL_TIM_PeriodElapsedCallback(TIM_HandleTypeDef *htim)
//{
//    if (htim->Instance == TIM5)  // your 1-second timer
//    {
//        rpm = pulse_count * 60;  // pulses per second → per minute
//        printf("RPM: %d \r\n", rpm);
//        pulse_count = 0;         // reset for next interval
//    }
//}

/* USER CODE END 4 */

void Error_Handler(void)
{
  __disable_irq();
  while (1)
  {
  }
}
